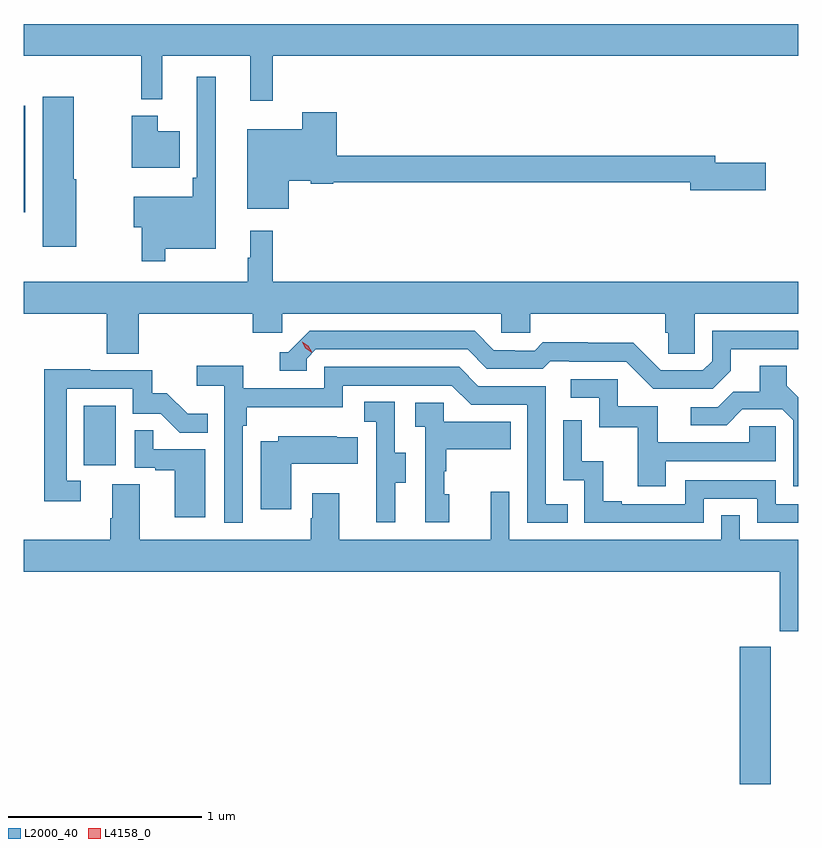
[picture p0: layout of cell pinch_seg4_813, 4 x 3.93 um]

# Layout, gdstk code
import gdstk
lib = gdstk.Library(unit=1e-6, precision=1e-09)
def R(c, l, rs):  # rectangles x0, y0, x1, y1
    for r in rs: c.add(gdstk.rectangle(r[:2], r[2:], *l))
def P(c, l, *ps):  # polygons
    for p in ps: c.add(gdstk.Polygon(p, *l))
L2000_40 = (2000, 40)
L4158_0 = (4158, 0)

pinch_seg4_813 = lib.new_cell('pinch_seg4_813')
R(pinch_seg4_813, L2000_40, [(807.845,791.727,808.005,792.436), (804.458,793.374,804.622,793.681), (804.147,794.679,804.156,795.23)])
P(pinch_seg4_813, L2000_40, [(805.433,795.488),(808.147,795.488),(808.147,795.652),(804.147,795.652),(804.147,795.488),(804.753,795.488),(804.753,795.263),(804.863,795.263),(804.863,795.488),(805.316,795.488),(805.316,795.255),(805.433,795.255)],
  [(804.877,794.492),(805.138,794.492),(805.138,795.379),(805.041,795.379),(805.041,794.857),(805.021,794.857),(805.021,794.761),(804.714,794.761),(804.714,794.603),(804.756,794.603),(804.756,794.427),(804.877,794.427)],
  [(804.418,794.85),(804.406,794.85),(804.406,795.277),(804.245,795.277),(804.245,794.502),(804.418,794.502)],
  [(805.516,794.843),(805.629,794.843),(805.629,794.828),(805.746,794.828),(805.746,794.836),(807.59,794.836),(807.59,794.794),(807.979,794.794),(807.979,794.936),(807.718,794.936),(807.718,794.972),(805.763,794.972),(805.763,795.196),(805.585,795.196),(805.585,795.109),(805.301,795.109),(805.301,794.699),(805.516,794.699)],
  [(804.952,795.097),(804.838,795.097),(804.838,795.178),(804.704,795.178),(804.704,794.909),(804.952,794.909)],
  [(805.433,794.584),(805.316,794.584),(805.316,794.444),(805.305,794.444),(805.305,794.32),(804.147,794.32),(804.147,794.156),(804.575,794.156),(804.575,793.948),(804.74,793.948),(804.74,794.156),(805.331,794.156),(805.331,794.058),(805.482,794.058),(805.482,794.156),(806.613,794.156),(806.613,794.058),(806.763,794.058),(806.763,794.156),(807.461,794.156),(807.461,794.058),(807.475,794.058),(807.475,793.948),(807.612,793.948),(807.612,794.156),(808.147,794.156),(808.147,794.32),(805.433,794.32)],
  [(807.799,793.861),(807.799,793.971),(808.147,793.971),(808.147,794.067),(807.702,794.067),(807.702,793.911),(807.654,793.863),(807.438,793.863),(807.296,794.005),(807.06,794.005),(807.06,794.008),(806.827,794.008),(806.785,793.965),(806.682,793.965),(806.682,793.968),(806.575,793.968),(806.476,794.067),(805.623,794.067),(805.512,793.956),(805.469,793.956),(805.469,793.86),(805.608,793.86),(805.608,793.923),(805.656,793.971),(806.439,793.971),(806.538,793.872),(806.827,793.872),(806.866,793.911),(806.965,793.911),(806.965,793.908),(807.258,793.908),(807.399,793.767),(807.705,793.767)],
  [(808.147,793.724),(808.087,793.784),(808.087,793.886),(807.947,793.886),(807.947,793.754),(807.812,793.754),(807.732,793.674),(807.591,793.674),(807.591,793.581),(807.778,793.581),(807.859,793.662),(808.065,793.662),(808.122,793.605),(808.122,793.266),(808.147,793.266)],
  [(805.278,793.577),(805.298,793.577),(805.298,793.673),(805.794,793.673),(805.794,793.785),(806.358,793.785),(806.457,793.686),(806.748,793.686),(806.748,793.077),(806.957,793.077),(806.957,793.173),(806.844,793.173),(806.844,793.782),(806.494,793.782),(806.395,793.881),(805.698,793.881),(805.698,793.77),(805.28,793.77),(805.28,793.886),(805.041,793.886),(805.041,793.784),(805.182,793.784),(805.182,793.077),(805.278,793.077)],
  [(804.442,793.293),(804.369,793.293),(804.369,793.767),(804.711,793.767),(804.711,793.638),(804.855,793.638),(804.953,793.54),(805.097,793.54),(805.097,793.639),(804.993,793.639),(804.886,793.746),(804.81,793.746),(804.81,793.863),(804.491,793.863),(804.491,793.868),(804.253,793.868),(804.253,793.188),(804.442,793.188)],
  [(807.463,793.395),(808.032,793.395),(808.032,793.575),(807.895,793.575),(807.895,793.491),(807.421,793.491),(807.421,793.677),(807.216,793.677),(807.216,793.818),(806.973,793.818),(806.973,793.722),(807.12,793.722),(807.12,793.569),(807.319,793.569),(807.319,793.266),(807.463,793.266)],
  [(806.065,793.282),(806.119,793.282),(806.119,793.437),(806.064,793.437),(806.064,793.7),(805.905,793.7),(805.905,793.597),(805.968,793.597),(805.968,793.293),(805.967,793.293),(805.967,793.08),(806.065,793.08)],
  [(806.344,793.224),(806.319,793.224),(806.319,793.343),(806.329,793.343),(806.329,793.457),(806.663,793.457),(806.663,793.597),(806.316,793.597),(806.316,793.695),(806.169,793.695),(806.169,793.571),(806.22,793.571),(806.22,793.08),(806.344,793.08)],
  [(807.66,793.2),(807.936,793.2),(807.936,793.077),(808.147,793.077),(808.147,793.173),(808.032,793.173),(808.032,793.296),(807.564,793.296),(807.564,793.173),(807.235,793.173),(807.235,793.186),(807.14,793.186),(807.14,793.394),(807.03,793.394),(807.03,793.606),(806.934,793.606),(806.934,793.296),(807.042,793.296),(807.042,793.077),(807.66,793.077)],
  [(805.084,793.455),(804.815,793.455),(804.815,793.553),(804.72,793.553),(804.72,793.359),(804.827,793.359),(804.827,793.347),(804.926,793.347),(804.926,793.104),(805.084,793.104)],
  [(805.528,793.382),(805.871,793.382),(805.871,793.519),(805.763,793.519),(805.763,793.522),(805.461,793.522),(805.461,793.498),(805.37,793.498),(805.37,793.146),(805.528,793.146)],
  [(808.147,792.988),(807.846,792.988),(807.846,793.115),(807.75,793.115),(807.75,792.988),(806.655,792.988),(806.655,793.237),(806.558,793.237),(806.558,792.988),(805.777,792.988),(805.777,793.228),(805.637,793.228),(805.637,793.1),(805.63,793.1),(805.63,792.988),(804.745,792.988),(804.745,793.274),(804.605,793.274),(804.605,793.1),(804.593,793.1),(804.593,792.988),(804.147,792.988),(804.147,792.824),(808.052,792.824),(808.052,792.515),(808.147,792.515)])
P(pinch_seg4_813, L4158_0, [(805.633,793.958),(805.602,793.977),(805.586,794.009),(805.586,794.01),(805.586,794.01),(805.617,793.991),(805.634,793.959),(805.634,793.958)])

lib.write_gds('pinch_seg4_813.gds')
